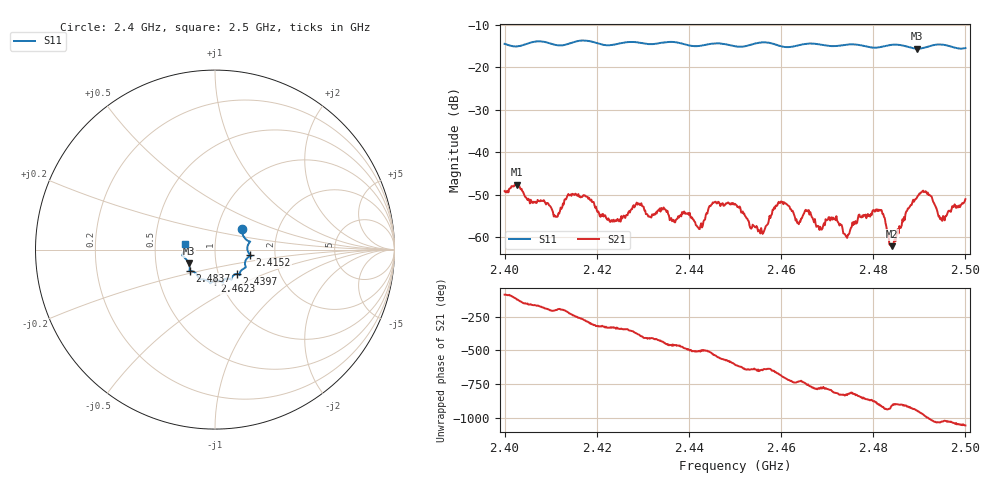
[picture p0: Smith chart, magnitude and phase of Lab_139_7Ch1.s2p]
# Hz S RI R 50
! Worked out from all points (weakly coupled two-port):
!   601 points, 2.4 GHz to 2.5 GHz, reference 50 ohm
!   highest |S21| = -47.61 dB at 2.4027 GHz (marker M1); lowest = -62.1 dB at 2.484 GHz (marker M2)
!   lowest |S11| = -15.7 dB at 2.4895 GHz (marker M3), VSWR 1.40, Z = 36.8 - j5.73 ohm
!   |S11| at or under -10 dB: start of sweep to end of sweep
!   S12 and S22 are empty: the file has one direction only
!   S11 on the Smith chart (normalised r, x): 2.4 GHz: 1.31, +0.31; 2.4152 GHz: 1.48, -0.09; 2.4397 GHz: 1.22, -0.34; 2.4623 GHz: 0.94, -0.34; 2.4837 GHz: 0.74, -0.18; 2.5 GHz: 0.72, +0.05
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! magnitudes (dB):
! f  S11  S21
! 2.4 GHz  -14.5  -49.1
! 2.4027 GHz  -15.1  -47.6
! 2.4112 GHz  -14.8  -55.1
! 2.4152 GHz  -14.1  -50.0
! 2.4167 GHz  -13.7  -50.5
! 2.4233 GHz  -14.8  -56.0
! 2.4333 GHz  -14.4  -53.6
! 2.4397 GHz  -14.8  -54.4
! 2.4425 GHz  -15.0  -57.3
! 2.45 GHz  -15.1  -52.1
! 2.4558 GHz  -14.2  -58.6
! 2.4595 GHz  -14.9  -51.6
! 2.4623 GHz  -15.2  -53.8
! 2.4667 GHz  -14.4  -55.2
! 2.4742 GHz  -14.7  -59.8
! 2.4813 GHz  -15.3  -53.5
! 2.4833 GHz  -14.8  -59.8
! 2.4837 GHz  -14.8  -61.8
! 2.484 GHz  -14.7  -62.1
! 2.4895 GHz  -15.7  -50.6
! 2.495 GHz  -14.7  -56.1
! 2.5 GHz  -15.5  -51.0
